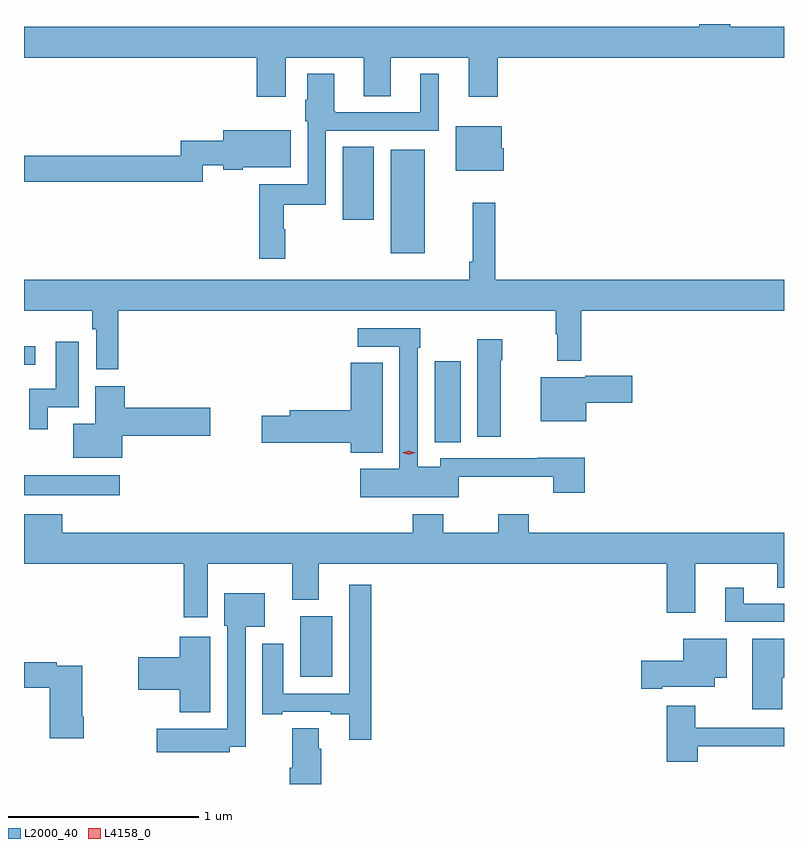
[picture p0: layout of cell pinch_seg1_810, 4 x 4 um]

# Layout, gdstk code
import gdstk
lib = gdstk.Library(unit=1e-6, precision=1e-09)
def R(c, l, rs):  # rectangles x0, y0, x1, y1
    for r in rs: c.add(gdstk.rectangle(r[:2], r[2:], *l))
def P(c, l, *ps):  # polygons
    for p in ps: c.add(gdstk.Polygon(p, *l))
L2000_40 = (2000, 40)
L4158_0 = (4158, 0)

pinch_seg1_810 = lib.new_cell('pinch_seg1_810')
R(pinch_seg1_810, L2000_40, [(491.657,571.118,491.827,571.438), (490.204,572.075,490.708,572.179), (492.365,572.353,492.502,572.779), (490.204,572.76,490.264,572.858), (492.134,573.347,492.313,573.892), (491.882,573.524,492.046,573.908)])
P(pinch_seg1_810, L2000_40, [(491.581,574.376),(491.993,574.376),(491.993,574.174),(492.133,574.174),(492.133,574.376),(492.545,574.376),(492.545,574.17),(492.698,574.17),(492.698,574.376),(494.204,574.376),(494.204,574.54),(493.922,574.54),(493.922,574.554),(493.757,574.554),(493.757,574.54),(490.204,574.54),(490.204,574.376),(491.429,574.376),(491.429,574.17),(491.581,574.17)],
  [(491.579,573.474),(491.572,573.474),(491.572,573.603),(491.793,573.603),(491.793,573.993),(492.388,573.993),(492.388,574.291),(492.29,574.291),(492.29,574.089),(491.842,574.089),(491.842,574.094),(491.836,574.094),(491.836,574.291),(491.696,574.291),(491.696,574.155),(491.685,574.155),(491.685,574.041),(491.697,574.041),(491.697,573.711),(491.443,573.711),(491.443,573.318),(491.579,573.318)],
  [(492.73,573.9),(492.718,573.9),(492.718,574.015),(492.476,574.015),(492.476,573.782),(492.73,573.782)],
  [(491.145,573.811),(491.252,573.811),(491.252,573.788),(491.356,573.788),(491.356,573.8),(491.607,573.8),(491.607,573.994),(491.252,573.994),(491.252,573.94),(491.029,573.94),(491.029,573.86),(490.204,573.86),(490.204,573.724),(491.145,573.724)],
  [(490.7,573.044),(493.003,573.044),(493.003,572.921),(493.011,572.921),(493.011,572.781),(493.138,572.781),(493.138,573.044),(494.204,573.044),(494.204,573.208),(492.683,573.208),(492.683,573.613),(492.565,573.613),(492.565,573.304),(492.547,573.304),(492.547,573.208),(490.204,573.208),(490.204,573.044),(490.564,573.044),(490.564,572.948),(490.584,572.948),(490.584,572.736),(490.7,572.736)],
  [(492.492,572.171),(492.989,572.171),(492.989,572.088),(493.154,572.088),(493.154,572.27),(492.905,572.27),(492.905,572.268),(492.396,572.268),(492.396,572.224),(492.276,572.224),(492.276,572.849),(492.289,572.849),(492.289,572.952),(491.961,572.952),(491.961,572.856),(492.18,572.856),(492.18,572.212),(491.973,572.212),(491.973,572.063),(492.492,572.063)],
  [(492.712,572.783),(492.72,572.783),(492.72,572.896),(492.59,572.896),(492.59,572.382),(492.712,572.382)],
  [(490.33,572.538),(490.492,572.538),(490.492,572.881),(490.37,572.881),(490.37,572.634),(490.232,572.634),(490.232,572.421),(490.33,572.421)],
  [(492.091,572.771),(491.924,572.771),(491.924,572.522),(491.603,572.522),(491.603,572.492),(491.454,572.492),(491.454,572.35),(491.924,572.35),(491.924,572.297),(492.091,572.297)],
  [(493.162,572.561),(493.405,572.561),(493.405,572.702),(493.158,572.702),(493.158,572.695),(492.923,572.695),(492.923,572.462),(493.162,572.462)],
  [(490.72,572.387),(491.185,572.387),(491.185,572.534),(490.733,572.534),(490.733,572.647),(490.58,572.647),(490.58,572.449),(490.463,572.449),(490.463,572.27),(490.72,572.27)],
  [(491.17,571.712),(491.615,571.712),(491.615,571.523),(491.755,571.523),(491.755,571.712),(493.586,571.712),(493.586,571.455),(493.738,571.455),(493.738,571.712),(494.168,571.712),(494.168,571.588),(494.204,571.588),(494.204,571.876),(492.86,571.876),(492.86,571.975),(492.7,571.975),(492.7,571.876),(492.411,571.876),(492.411,571.975),(492.251,571.975),(492.251,571.876),(490.405,571.876),(490.405,571.975),(490.204,571.975),(490.204,571.712),(491.045,571.712),(491.045,571.431),(491.17,571.431)],
  [(492.032,571.603),(491.916,571.603),(491.916,571.029),(491.569,571.029),(491.569,571.291),(491.459,571.291),(491.459,570.921),(491.563,570.921),(491.563,570.933),(491.819,570.933),(491.819,570.921),(491.915,570.921),(491.915,570.786),(492.032,570.786)],
  [(494.204,571.503),(493.993,571.503),(493.993,571.588),(493.895,571.588),(493.895,571.407),(494.204,571.407)],
  [(491.286,570.749),(491.37,570.749),(491.37,571.382),(491.47,571.382),(491.47,571.558),(491.258,571.558),(491.258,571.386),(491.274,571.386),(491.274,570.846),(491.058,570.846),(491.058,570.844),(490.902,570.844),(490.902,570.722),(491.286,570.722)],
  [(491.185,571.33),(491.024,571.33),(491.024,571.22),(490.806,571.22),(490.806,571.049),(491.024,571.049),(491.024,570.932),(491.185,570.932)],
  [(494.194,571.112),(494.204,571.112),(494.204,571.318),(494.036,571.318),(494.036,570.948),(494.194,570.948)],
  [(493.564,571.067),(493.84,571.067),(493.84,571.112),(493.903,571.112),(493.903,571.318),(493.673,571.318),(493.673,571.202),(493.452,571.202),(493.452,571.055),(493.564,571.055)],
  [(490.518,570.907),(490.51,570.907),(490.51,571.176),(490.376,571.176),(490.376,571.196),(490.204,571.196),(490.204,571.06),(490.34,571.06),(490.34,570.795),(490.518,570.795)],
  [(493.751,570.752),(494.204,570.752),(494.204,570.849),(493.94,570.849),(493.94,570.851),(493.738,570.851),(493.738,570.967),(493.586,570.967),(493.586,570.672),(493.751,570.672)],
  [(491.768,570.74),(491.755,570.74),(491.755,570.848),(491.615,570.848),(491.615,570.64),(491.603,570.64),(491.603,570.554),(491.768,570.554)])
P(pinch_seg1_810, L4158_0, [(492.229,572.288),(492.194,572.298),(492.194,572.298),(492.194,572.298),(492.229,572.308),(492.263,572.298),(492.263,572.298),(492.263,572.298)])

lib.write_gds('pinch_seg1_810.gds')
